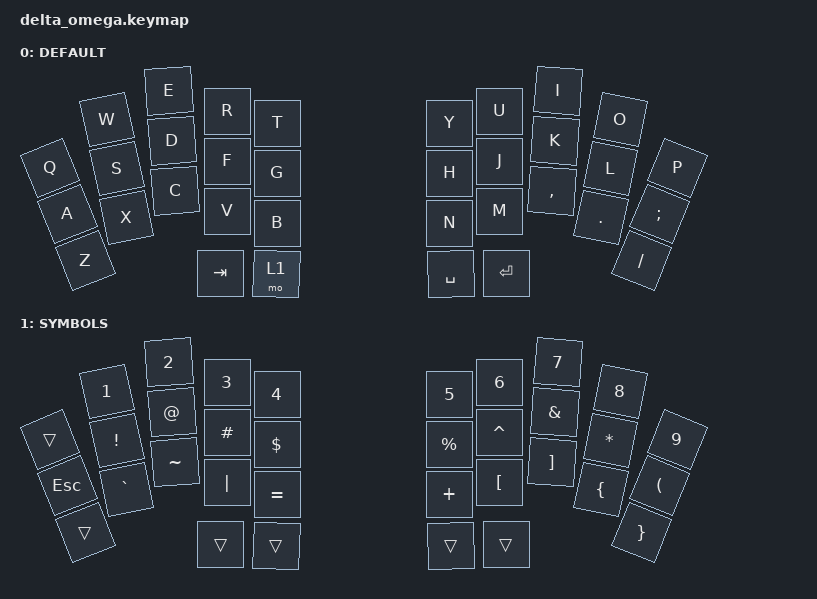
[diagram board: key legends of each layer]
#include <behaviors.dtsi>
#include <dt-bindings/zmk/keys.h>
#include <dt-bindings/zmk/bt.h>
#include <dt-bindings/zmk/outputs.h>
#include <behaviors/rgbled_widget.dtsi>

&mt {
    flavor = "balanced";
    tapping-term-ms = <170>;
};

&lt {
    flavor = "balanced";
    tapping-term-ms = <170>;
};

/ {
    keymap {
        compatible = "zmk,keymap";
        default_layer {
            display-name = "DEFAULT";
            bindings = <
                &kp Q     &kp W      &kp E     &kp R     &kp T       &kp Y     &kp U     &kp I     &kp O     &kp P
                &kp A     &kp S      &kp D     &kp F     &kp G       &kp H     &kp J     &kp K     &kp L     &kp SEMI
                &kp Z     &kp X      &kp C     &kp V     &kp B       &kp N     &kp M     &kp COMMA &kp DOT   &kp SLASH
                                               &kp TAB   &mo 1       &kp SPACE &kp ENTER
            >;
        };
        symbols_layer {
            display-name = "SYMBOLS";
            bindings = <
                &trans    &kp N1     &kp N2     &kp N3     &kp N4         &kp N5      &kp N6             &kp N7               &kp N8            &kp N9
                &kp ESC   &kp EXCL   &kp AT     &kp HASH   &kp DLLR       &kp PRCNT   &kp CARET          &kp AMPS             &kp ASTERISK      &kp LPAR
                &trans    &kp GRAVE  &kp TILDE  &kp PIPE   &kp EQUAL      &kp PLUS    &kp LEFT_BRACKET   &kp RIGHT_BRACKET    &kp LEFT_BRACE    &kp RIGHT_BRACE
                                                &trans     &trans         &trans      &trans
            >;
        };
    };
};
